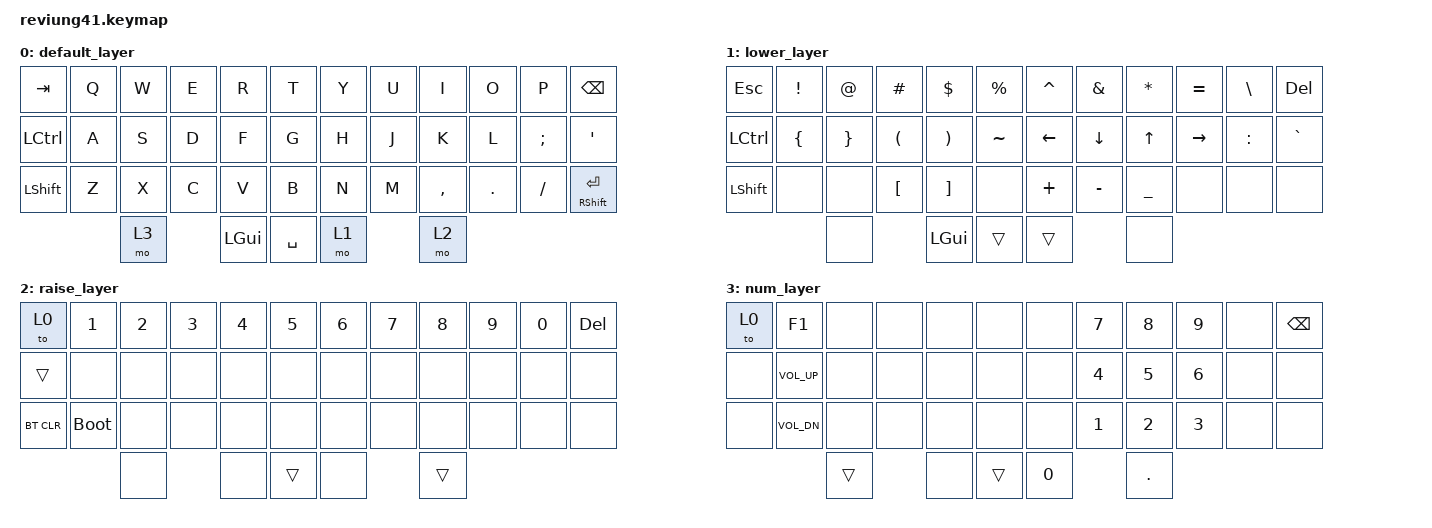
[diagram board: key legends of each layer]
/*
 * Copyright (c) 2020 The ZMK Contributors
 *
 * SPDX-License-Identifier: MIT
 */

#include <behaviors.dtsi>
#include <dt-bindings/zmk/keys.h>
#include <dt-bindings/zmk/bt.h>
#include <dt-bindings/zmk/rgb.h>

/ {
    combos {
        compatible = "zmk,combos";
        combo_alt {
            timeout-ms = <50>;
            key-positions = <36 37>;
            bindings = <&kp LALT>;
        };
        combo_caps {
            timeout-ms = <50>;
            key-positions = <37 39>;
            bindings = <&kp CAPS>;
        };
    };
};

/ {
        keymap {
                compatible = "zmk,keymap";

                default_layer {
//
// ------------------------------------------------------------------------------------
// |  TAB |  Q  |  W  |  E  |  R  |  T  |||||  Y  |  U  |  I  |  O  |  P  |   BKSP    |
// | CTRL |  A  |  S  |  D  |  F  |  G  |||||  H  |  J  |  K  |  L  |  ;  |    ''     |
// | SHFT |  Z  |  X  |  C  |  V  |  B  |||||  N  |  M  |  ,  |  .  |  /  | SHFT(RET) |
//                         | LY3 | GUI | SPC | LY1 | LY2 |
//
                        bindings = <
   &kp TAB   &kp Q &kp W &kp E &kp R &kp T   &kp Y &kp U  &kp I     &kp O   &kp P    &kp BSPC
   &kp LCTRL &kp A &kp S &kp D &kp F &kp G   &kp H &kp J  &kp K     &kp L   &kp SEMI &kp SQT
   &kp LSHFT &kp Z &kp X &kp C &kp V &kp B   &kp N &kp M  &kp COMMA &kp DOT &kp FSLH &mt RSHFT RET
                      &mo 3  &kp LGUI &kp SPACE &mo 1  &mo 2
                        >;
                };

                lower_layer {
//
// -------------------------------------------------------------------------------
// | ESC  |  !  |  @  |  #  |  $  |  %  ||||||  ^  |  &  |  *  |  =  |  \  | DEL |
// | CTRL |  {  |  }  |  (  |  )  |  ~  ||||||  ←  |  ↓  |  ↑  |  →  |  :  |  `  |
// | SHFT |     |     |  [  |  ]  |     ||||||  +  |  -  |  _  |     |     |     |
//                        |     | GUI | trans | trans |     |
//
                        bindings = <
   &kp ESC   &kp EXCL &kp AT   &kp HASH  &kp DLLR  &kp PRCNT     &kp CARET &kp AMPS  &kp ASTRK &kp EQUAL &kp BSLH  &kp DEL
   &kp LCTRL &kp LBRC &kp RBRC &kp LPAR  &kp RPAR  &kp TILDE     &kp LEFT  &kp DOWN  &kp UP    &kp RIGHT &kp COLON &kp GRAVE
   &kp LSHFT &none    &none    &kp LBKT  &kp RBKT  &none         &kp PLUS  &kp MINUS &kp UNDER &none     &none     &none
                                    &none      &kp LGUI    &trans        &trans      &none
                        >;
                };

                raise_layer {
//
// -------------------------------------------------------------------------------
// | LY0 |  1  |  2  |  3  |  4  |  5  |||||  6  |  7  |  8  |  9  |  0  |  DEL  |
// |     |     |     |     |     |     |||||     |     |     |     |     |       |
// |     | BOOT|     |     |     |     |||||     |     |     |     |     |       |
//                        |     |     |     |     |     |
//
                        bindings = <
   &to 0   &kp N1       &kp N2      &kp N3   &kp N4   &kp N5         &kp N6    &kp N7   &kp N8    &kp N9    &kp N0    &kp DEL
   &trans  &none        &none       &none    &none    &none          &none     &none    &none     &none     &none     &none
   &bt CLR &bootloader  &none       &none    &none    &none          &none     &none    &none     &none     &none     &none
                                &none      &none       &trans        &none       &trans
                        >;
                };

                num_layer {
//
// ---------------------------------------------------------------------------------
// | LY0 |  F1  |     |     |     |     |||||||     |  7  |  8  |  9  |     | BKSP |
// |     | VOL+ |     |     |     |     |||||||     |  4  |  5  |  6  |     |      |
// |     | VOL- |     |     |     |     |||||||     |  1  |  2  |  3  |     |      |
//                         |     |     |       |  0  |  .  |
//
                        bindings = <
   &to 0 &kp F1       &none &none &none &none    &none &kp N7 &kp N8 &kp N9 &none &kp BSPC
   &none &kp C_VOL_UP &none &none &none &none    &none &kp N4 &kp N5 &kp N6 &none &none
   &none &kp C_VOL_DN &none &none &none &none    &none &kp N1 &kp N2 &kp N3 &none &none
                               &trans &none &trans &kp N0 &kp DOT
                        >;
                };
        };
};
